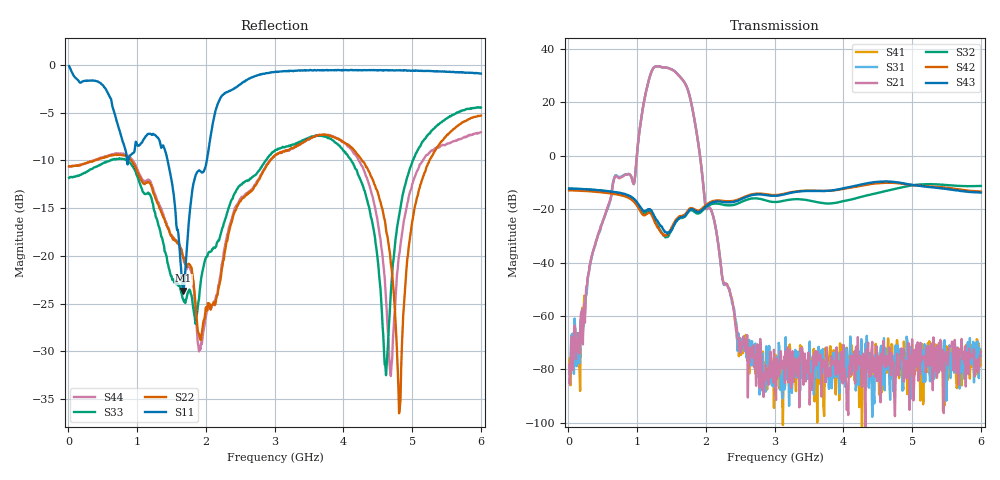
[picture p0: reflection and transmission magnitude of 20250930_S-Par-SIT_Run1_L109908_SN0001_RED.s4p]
!Keysight Technologies,P5024B,MY61400385,A.19.30.21
!Date: Tuesday, September 30, 2025 12:57:03
!Correction: S11(C  4-Port  )
!S12(C  4-Port  )
!S13(C  4-Port  )
!S14(C  4-Port  )
!S21(C  4-Port  )
!S22(C  4-Port  )
!S23(C  4-Port  )
!S24(C  4-Port  )
!S31(C  4-Port  )
!S32(C  4-Port  )
!S33(C  4-Port  )
!S34(C  4-Port  )
!S41(C  4-Port  )
!S42(C  4-Port  )
!S43(C  4-Port  )
!S44(C  4-Port  )
!S4P File: Measurements: <S11,S12,S13,S14>,
!<S21,S22,S23,S24>,
!<S31,S32,S33,S34>,
!<S41,S42,S43,S44>:
# Hz S  dB  R 50
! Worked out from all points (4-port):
!   600 points, 10 MHz to 6 GHz, reference 50 ohm
!   strongest paths, dB at 10 MHz, 1.51 GHz, 3.01 GHz, 4.51 GHz, 6 GHz:
!     S43: -12.3, -27.3, -15.0, -9.7, -13.8
!     S42: -13.0, -26.5, -14.7, -10.3, -13.4
!     S32: -12.3, -27.6, -17.4, -13.9, -11.3
!     S21: -78.3, 32.2, -86.3, -77.1, -73.5
!     S31: -81.2, 32.3, -76.7, -78.3, -75.0
!     S41: -78.8, 32.2, -74.4, -75.2, -72.6
!   lowest |S11| = -23.6 dB at 1.67 GHz (marker M1), VSWR 1.14, Z = 50.7 + j6.6 ohm
!   |S11| at or under -10 dB: 852.6 MHz to 871.4 MHz (18.85 MHz wide, 2.19 % of centre); 1.442 GHz to 2.013 GHz (570.6 MHz wide, 33 % of centre)
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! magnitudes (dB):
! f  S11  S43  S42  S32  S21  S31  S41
! 10 MHz  -0.1  -12.3  -13.0  -12.3  -78.3  -81.2  -78.8
! 1.21 GHz  -7.3  -20.6  -22.1  -21.6  31.6  31.6  31.6
! 1.67 GHz  -23.6  -22.9  -22.3  -23.1  28.1  28.1  28.1
! 2.49 GHz  -2.1  -16.6  -16.2  -17.6  -68.1  -72.7  -68.9
! 2.76 GHz  -1.1  -14.5  -14.2  -16.1  -72.6  -82.9  -81.8
! 4.81 GHz  -0.6  -10.0  -10.3  -12.1  -80.5  -72.5  -83.3
! 6 GHz  -0.9  -13.8  -13.4  -11.3  -73.5  -75.0  -72.6
